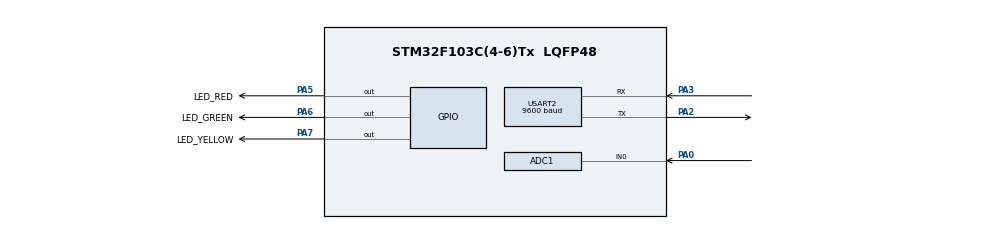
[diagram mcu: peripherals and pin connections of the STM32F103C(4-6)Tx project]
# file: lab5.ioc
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ADC1.Channel-0\#ChannelRegularConversion=ADC_CHANNEL_0
ADC1.ContinuousConvMode=ENABLE
ADC1.NbrOfConversionFlag=1
ADC1.Rank-0\#ChannelRegularConversion=1
ADC1.SamplingTime-0\#ChannelRegularConversion=ADC_SAMPLETIME_1CYCLE_5
ADC1.master=1
Mcu.Family=STM32F1
Mcu.Name=STM32F103C(4-6)Tx
Mcu.Package=LQFP48
NVIC.PriorityGroup=NVIC_PRIORITYGROUP_4
NVIC.TIM2_IRQn=true\:0\:0\:false\:false\:true\:true\:true\:true
NVIC.USART2_IRQn=true\:0\:0\:false\:false\:true\:true\:true\:true
PA0-WKUP.Signal=ADCx_IN0
PA2.Mode=Asynchronous
PA2.Signal=USART2_TX
PA3.Mode=Asynchronous
PA3.Signal=USART2_RX
PA5.GPIO_Label=LED_RED
PA5.Signal=GPIO_Output
PA6.GPIO_Label=LED_GREEN
PA6.Signal=GPIO_Output
PA7.GPIO_Label=LED_YELLOW
PA7.Signal=GPIO_Output
ProjectManager.HeapSize=0x200
ProjectManager.StackSize=0x400
ProjectManager.TargetToolchain=STM32CubeIDE
RCC.APB1Freq_Value=8000000
RCC.APB2Freq_Value=8000000
SH.ADCx_IN0.0=ADC1_IN0,IN0
TIM2.Period=9
TIM2.Prescaler=7999
USART2.BaudRate=9600
USART2.VirtualMode=VM_ASYNC
VP_TIM2_VS_ClockSourceINT.Mode=Internal
board=custom

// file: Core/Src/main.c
/* USER CODE BEGIN Header */
/**
  ******************************************************************************
  * @file           : main.c
  * @brief          : Main program body
  ******************************************************************************
  * @attention
  *
  * Copyright (c) 2022 STMicroelectronics.
  * All rights reserved.
  *
  * This software is licensed under terms that can be found in the LICENSE file
  * in the root directory of this software component.
  * If no LICENSE file comes with this software, it is provided AS-IS.
  *
  ******************************************************************************
  */
/* USER CODE END Header */
#include "main.h"
/* USER CODE BEGIN Includes */
#include "global.h"
#include <stdint.h>
#include <timer.h>
#include <stdio.h>
/* USER CODE END Includes */

ADC_HandleTypeDef hadc1;

TIM_HandleTypeDef htim2;

UART_HandleTypeDef huart2;

void SystemClock_Config(void);
static void MX_GPIO_Init(void);
static void MX_ADC1_Init(void);
static void MX_USART2_UART_Init(void);
static void MX_TIM2_Init(void);

/* USER CODE BEGIN 0 */
  uint8_t temp=0;
  uint8_t buffer[MAX_BUFFER_SIZE];
  uint8_t index_buffer=0;
  uint8_t buffer_flag=0;
  uint32_t ADC_value=0;
  int command_flag=-1;
  char str[50];

  void command_parser_fsm(){
		  switch(state){
		  case INIT:

			  if(temp=='!') state=START;
			  break;
		  case START:

			  if(temp=='O') state=S0;
			  else if(temp=='R') state=S2;
			  else state=INIT;
			  break;
		  case S0:

			  if(temp=='K') state=S1;
			  else state=INIT;
			  break;
		  case S1:

			  if(temp!='#') {
				  state=INIT;

			  }
			  else {
				  command_flag=-1;
				  state=INIT;
			  }
			  break;
		  case S2:

			  if(temp=='S') state=S3;
			  else state=INIT;
			  break;
		  case S3:

			  if(temp=='T') state=S4;
			  else state=INIT;
			  break;
		  case S4:
			  if(temp=='#') {
				  command_flag=0;
				  state=INIT;
			  }
			  else state=INIT;
			  break;

		  }
  }
  void uart_communication_fsm(){
	  switch (command_flag){
	  	  case 0://state COMMUNICATION
	  		  //after user types !RST#
	  		ADC_value = HAL_ADC_GetValue(&hadc1);
	  		HAL_UART_Transmit(&huart2 ,(void*)str,sprintf(str,"!ADC=%ld#\n"
	  		,ADC_value),1000) ;
	  		command_flag=1;
	  		setTimer1(3000);
	  		  break;
	  	  case 1://state WAITING

	  		if(timer1_flag==1){
	  			timer1_flag=0;
	  			command_flag=0;
	  			  }
	  		//user types !OK#
	  		if(state==S1&&temp=='#') command_flag=-1;

	  		  break;

	  	  default://state NONE
	  		  break;
	  }
  }

void HAL_TIM_PeriodElapsedCallback ( TIM_HandleTypeDef * htim ){

	timer1_run();
}

void HAL_UART_RxCpltCallback ( UART_HandleTypeDef *huart ) {
	if( huart->Instance == USART2 ) {
		buffer [index_buffer++] = temp ;
		if( index_buffer == 30) index_buffer = 0;
		buffer_flag = 1;
		HAL_UART_Receive_IT(&huart2 , &temp , 1) ;
	}
}
/* USER CODE END 0 */

int main(void)
{

  /* MCU Configuration--------------------------------------------------------*/

  /* Reset of all peripherals, Initializes the Flash interface and the Systick. */
  HAL_Init();

  /* Configure the system clock */
  SystemClock_Config();

  /* Initialize all configured peripherals */
  MX_GPIO_Init();
  MX_ADC1_Init();
  MX_USART2_UART_Init();
  MX_TIM2_Init();
  /* USER CODE BEGIN 2 */
  HAL_TIM_Base_Start_IT(&htim2);
  /* USER CODE END 2 */

  /* Infinite loop */
  /* USER CODE BEGIN WHILE */
  HAL_UART_Receive_IT(&huart2 , &temp , 1) ;
  state=0;
  HAL_ADC_Start(&hadc1);
  while (1)
  {
	  if(buffer_flag==1){
	  		 command_parser_fsm();
	  		 buffer_flag=0;
	  	  }
	  uart_communication_fsm();
    /* USER CODE END WHILE */

  }
}

void SystemClock_Config(void)
{
  RCC_OscInitTypeDef RCC_OscInitStruct = {0};
  RCC_ClkInitTypeDef RCC_ClkInitStruct = {0};
  RCC_PeriphCLKInitTypeDef PeriphClkInit = {0};

  /** Initializes the RCC Oscillators according to the specified parameters
  * in the RCC_OscInitTypeDef structure.
  */
  RCC_OscInitStruct.OscillatorType = RCC_OSCILLATORTYPE_HSI;
  RCC_OscInitStruct.HSIState = RCC_HSI_ON;
  RCC_OscInitStruct.HSICalibrationValue = RCC_HSICALIBRATION_DEFAULT;
  RCC_OscInitStruct.PLL.PLLState = RCC_PLL_NONE;
  if (HAL_RCC_OscConfig(&RCC_OscInitStruct) != HAL_OK)
  {
    Error_Handler();
  }

  /** Initializes the CPU, AHB and APB buses clocks
  */
  RCC_ClkInitStruct.ClockType = RCC_CLOCKTYPE_HCLK|RCC_CLOCKTYPE_SYSCLK
                              |RCC_CLOCKTYPE_PCLK1|RCC_CLOCKTYPE_PCLK2;
  RCC_ClkInitStruct.SYSCLKSource = RCC_SYSCLKSOURCE_HSI;
  RCC_ClkInitStruct.AHBCLKDivider = RCC_SYSCLK_DIV1;
  RCC_ClkInitStruct.APB1CLKDivider = RCC_HCLK_DIV1;
  RCC_ClkInitStruct.APB2CLKDivider = RCC_HCLK_DIV1;

  if (HAL_RCC_ClockConfig(&RCC_ClkInitStruct, FLASH_LATENCY_0) != HAL_OK)
  {
    Error_Handler();
  }
  PeriphClkInit.PeriphClockSelection = RCC_PERIPHCLK_ADC;
  PeriphClkInit.AdcClockSelection = RCC_ADCPCLK2_DIV2;
  if (HAL_RCCEx_PeriphCLKConfig(&PeriphClkInit) != HAL_OK)
  {
    Error_Handler();
  }
}

static void MX_ADC1_Init(void)
{

  ADC_ChannelConfTypeDef sConfig = {0};

  /** Common config
  */
  hadc1.Instance = ADC1;
  hadc1.Init.ScanConvMode = ADC_SCAN_DISABLE;
  hadc1.Init.ContinuousConvMode = ENABLE;
  hadc1.Init.DiscontinuousConvMode = DISABLE;
  hadc1.Init.ExternalTrigConv = ADC_SOFTWARE_START;
  hadc1.Init.DataAlign = ADC_DATAALIGN_RIGHT;
  hadc1.Init.NbrOfConversion = 1;
  if (HAL_ADC_Init(&hadc1) != HAL_OK)
  {
    Error_Handler();
  }

  /** Configure Regular Channel
  */
  sConfig.Channel = ADC_CHANNEL_0;
  sConfig.Rank = ADC_REGULAR_RANK_1;
  sConfig.SamplingTime = ADC_SAMPLETIME_1CYCLE_5;
  if (HAL_ADC_ConfigChannel(&hadc1, &sConfig) != HAL_OK)
  {
    Error_Handler();
  }

}

static void MX_TIM2_Init(void)
{

  TIM_ClockConfigTypeDef sClockSourceConfig = {0};
  TIM_MasterConfigTypeDef sMasterConfig = {0};

  htim2.Instance = TIM2;
  htim2.Init.Prescaler = 7999;
  htim2.Init.CounterMode = TIM_COUNTERMODE_UP;
  htim2.Init.Period = 9;
  htim2.Init.ClockDivision = TIM_CLOCKDIVISION_DIV1;
  htim2.Init.AutoReloadPreload = TIM_AUTORELOAD_PRELOAD_DISABLE;
  if (HAL_TIM_Base_Init(&htim2) != HAL_OK)
  {
    Error_Handler();
  }
  sClockSourceConfig.ClockSource = TIM_CLOCKSOURCE_INTERNAL;
  if (HAL_TIM_ConfigClockSource(&htim2, &sClockSourceConfig) != HAL_OK)
  {
    Error_Handler();
  }
  sMasterConfig.MasterOutputTrigger = TIM_TRGO_RESET;
  sMasterConfig.MasterSlaveMode = TIM_MASTERSLAVEMODE_DISABLE;
  if (HAL_TIMEx_MasterConfigSynchronization(&htim2, &sMasterConfig) != HAL_OK)
  {
    Error_Handler();
  }

}

static void MX_USART2_UART_Init(void)
{

  huart2.Instance = USART2;
  huart2.Init.BaudRate = 9600;
  huart2.Init.WordLength = UART_WORDLENGTH_8B;
  huart2.Init.StopBits = UART_STOPBITS_1;
  huart2.Init.Parity = UART_PARITY_NONE;
  huart2.Init.Mode = UART_MODE_TX_RX;
  huart2.Init.HwFlowCtl = UART_HWCONTROL_NONE;
  huart2.Init.OverSampling = UART_OVERSAMPLING_16;
  if (HAL_UART_Init(&huart2) != HAL_OK)
  {
    Error_Handler();
  }

}

static void MX_GPIO_Init(void)
{
  GPIO_InitTypeDef GPIO_InitStruct = {0};

  /* GPIO Ports Clock Enable */
  __HAL_RCC_GPIOA_CLK_ENABLE();

  /*Configure GPIO pin Output Level */
  HAL_GPIO_WritePin(GPIOA, LED_RED_Pin|LED_GREEN_Pin|LED_YELLOW_Pin, GPIO_PIN_RESET);

  /*Configure GPIO pins : LED_RED_Pin LED_GREEN_Pin LED_YELLOW_Pin */
  GPIO_InitStruct.Pin = LED_RED_Pin|LED_GREEN_Pin|LED_YELLOW_Pin;
  GPIO_InitStruct.Mode = GPIO_MODE_OUTPUT_PP;
  GPIO_InitStruct.Pull = GPIO_NOPULL;
  GPIO_InitStruct.Speed = GPIO_SPEED_FREQ_LOW;
  HAL_GPIO_Init(GPIOA, &GPIO_InitStruct);

}

void Error_Handler(void)
{
  __disable_irq();
  while (1)
  {
  }
}
